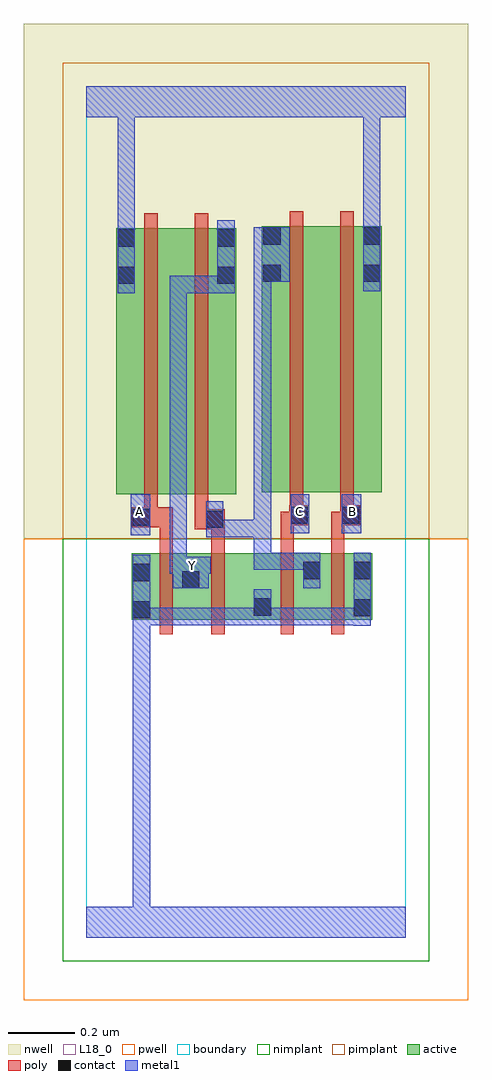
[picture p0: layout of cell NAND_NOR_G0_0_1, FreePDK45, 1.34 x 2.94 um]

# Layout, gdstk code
import gdstk
lib = gdstk.Library(unit=1e-6, precision=1e-09)
def R(c, l, rs):  # rectangles x0, y0, x1, y1
    for r in rs: c.add(gdstk.rectangle(r[:2], r[2:], *l))
active = (1, 0)
pwell = (2, 0)
nwell = (3, 0)
nimplant = (4, 0)
pimplant = (5, 0)
poly = (9, 0)
contact = (10, 0)
metal1 = (11, 0)
L18_0 = (18, 0)
boundary = (235, 0)

nand_nor_g0_0_1 = lib.new_cell('NAND_NOR_G0_0_1')
R(nand_nor_g0_0_1, active, [(0.136,0.956,0.196,1.156), (0.136,0.956,0.344,1.156), (0.284,0.956,0.344,1.156), (0.284,0.956,0.56,1.156), (0.5,0.956,0.56,1.156), (0.5,0.956,0.708,1.156), (0.648,0.956,0.708,1.156), (0.648,0.956,0.86,1.156), (0.8,0.956,0.86,1.156), (0.09,1.334,0.15,2.134), (0.09,1.334,0.27,2.134), (0.27,1.334,0.45,2.134), (0.39,1.334,0.45,2.134), (0.528,1.34,0.588,2.14), (0.528,1.34,0.708,2.14), (0.708,1.34,0.888,2.14), (0.828,1.34,0.888,2.14)])
R(nand_nor_g0_0_1, pwell, [(-0.188,-0.188,1.148,1.2)])
R(nand_nor_g0_0_1, nwell, [(-0.188,1.2,1.148,2.748)])
R(nand_nor_g0_0_1, nimplant, [(-0.072,-0.072,1.032,1.2)])
R(nand_nor_g0_0_1, pimplant, [(-0.072,1.2,1.032,2.632)])
R(nand_nor_g0_0_1, poly, [(0.22,0.912,0.26,1.2), (0.376,0.912,0.416,1.2), (0.584,0.912,0.624,1.2), (0.736,0.912,0.776,1.2), (0.22,1.16,0.26,1.274), (0.376,1.16,0.416,1.268), (0.584,1.16,0.624,1.28), (0.736,1.16,0.776,1.28), (0.326,1.228,0.416,1.288), (0.376,1.228,0.416,1.268), (0.376,1.228,0.416,1.268), (0.136,1.234,0.26,1.294), (0.584,1.24,0.65,1.28), (0.61,1.24,0.65,1.28), (0.61,1.24,0.67,1.3), (0.736,1.24,0.804,1.28), (0.764,1.24,0.804,1.28), (0.764,1.24,0.824,1.3), (0.326,1.248,0.366,1.33), (0.174,1.254,0.214,1.33), (0.174,1.254,0.214,1.294), (0.174,1.254,0.214,1.294), (0.612,1.26,0.652,1.336), (0.764,1.26,0.804,1.336), (0.174,1.29,0.214,2.178), (0.326,1.29,0.366,2.178), (0.612,1.296,0.652,2.184), (0.764,1.296,0.804,2.184)])
R(nand_nor_g0_0_1, contact, [(0.14,0.96,0.192,1.012), (0.804,0.966,0.856,1.018), (0.504,0.968,0.556,1.02), (0.288,1.05,0.34,1.102), (0.14,1.072,0.192,1.124), (0.652,1.078,0.704,1.13), (0.804,1.078,0.856,1.13), (0.36,1.232,0.412,1.284), (0.14,1.238,0.192,1.29), (0.614,1.244,0.666,1.296), (0.768,1.244,0.82,1.296), (0.094,1.966,0.146,2.018), (0.394,1.966,0.446,2.018), (0.532,1.972,0.584,2.024), (0.832,1.972,0.884,2.024), (0.094,2.078,0.146,2.13), (0.394,2.078,0.446,2.13), (0.532,2.084,0.584,2.136), (0.832,2.084,0.884,2.136)])
R(nand_nor_g0_0_1, metal1, [(0,0,0.96,0.092), (0.14,0.04,0.192,0.092), (0.14,0.04,0.192,0.092), (0.14,0.04,0.192,0.092), (0.14,0.04,0.192,0.092), (0.14,0.04,0.192,0.092), (0.14,0.04,0.192,0.092), (0.14,0.04,0.192,0.092), (0.14,0.04,0.192,0.092), (0.14,0.04,0.192,0.092), (0.14,0.04,0.192,0.092), (0.14,0.04,0.192,0.092), (0.14,0.04,0.192,0.092), (0.14,0.04,0.192,0.092), (0.14,0.04,0.192,0.092), (0.14,0.04,0.192,0.984), (0.14,0.932,0.192,0.984), (0.14,0.932,0.192,0.984), (0.14,0.932,0.192,1.152), (0.804,0.938,0.856,1.158), (0.14,0.94,0.192,0.992), (0.14,0.94,0.192,0.992), (0.14,0.94,0.302,0.992), (0.25,0.94,0.302,0.992), (0.25,0.94,0.302,0.992), (0.25,0.94,0.302,0.992), (0.25,0.94,0.556,0.992), (0.504,0.94,0.556,0.992), (0.504,0.94,0.556,0.992), (0.504,0.94,0.556,1.048), (0.504,0.94,0.666,0.992), (0.614,0.94,0.666,0.992), (0.614,0.94,0.666,0.992), (0.614,0.94,0.666,0.992), (0.614,0.94,0.856,0.992), (0.804,0.94,0.856,0.992), (0.804,0.94,0.856,0.992), (0.26,1.05,0.312,1.146), (0.26,1.05,0.368,1.102), (0.652,1.05,0.704,1.158), (0.25,1.094,0.302,1.146), (0.25,1.094,0.302,1.146), (0.25,1.094,0.302,1.99), (0.25,1.094,0.374,1.146), (0.504,1.106,0.556,1.158), (0.504,1.106,0.556,1.158), (0.504,1.106,0.556,1.158), (0.504,1.106,0.704,1.158), (0.504,1.106,0.556,1.256), (0.652,1.106,0.704,1.158), (0.652,1.106,0.704,1.158), (0.36,1.204,0.412,1.312), (0.36,1.204,0.556,1.256), (0.504,1.204,0.556,1.256), (0.504,1.204,0.556,1.256), (0.504,1.204,0.556,1.256), (0.504,1.204,0.556,2.024), (0.134,1.21,0.192,1.334), (0.614,1.216,0.67,1.334), (0.768,1.216,0.826,1.334), (0.094,1.938,0.146,2.158), (0.25,1.938,0.302,1.99), (0.25,1.938,0.446,1.99), (0.394,1.938,0.446,1.99), (0.394,1.938,0.446,1.99), (0.394,1.938,0.446,2.158), (0.832,1.944,0.884,2.164), (0.504,1.972,0.612,2.136), (0.094,2.106,0.146,2.158), (0.094,2.106,0.146,2.158), (0.094,2.106,0.146,2.52), (0.832,2.112,0.884,2.164), (0.832,2.112,0.884,2.164), (0.832,2.112,0.884,2.52), (0,2.468,0.96,2.56), (0.094,2.468,0.146,2.52), (0.094,2.468,0.146,2.52), (0.094,2.468,0.146,2.52), (0.094,2.468,0.146,2.52), (0.094,2.468,0.146,2.52), (0.094,2.468,0.146,2.52), (0.832,2.468,0.884,2.52), (0.832,2.468,0.884,2.52), (0.832,2.468,0.884,2.52), (0.832,2.468,0.884,2.52), (0.832,2.468,0.884,2.52), (0.832,2.468,0.884,2.52)])
R(nand_nor_g0_0_1, L18_0, [(0,0,0.96,0.092), (0.14,0.04,0.192,0.092), (0.14,0.04,0.192,0.092), (0.14,0.04,0.192,0.092), (0.14,0.04,0.192,0.092), (0.14,0.04,0.192,0.092), (0.14,0.04,0.192,0.092), (0.14,0.04,0.192,0.092), (0.14,0.04,0.192,0.092), (0.14,0.04,0.192,0.092), (0.14,0.04,0.192,0.092), (0.14,0.04,0.192,0.092), (0.14,0.04,0.192,0.092), (0.14,0.04,0.192,0.092), (0.14,0.04,0.192,0.092), (0.14,0.04,0.192,0.984), (0.14,0.932,0.192,0.984), (0.14,0.932,0.192,0.984), (0.14,0.932,0.192,1.152), (0.804,0.938,0.856,1.158), (0.14,0.94,0.192,0.992), (0.14,0.94,0.192,0.992), (0.14,0.94,0.302,0.992), (0.25,0.94,0.302,0.992), (0.25,0.94,0.302,0.992), (0.25,0.94,0.302,0.992), (0.25,0.94,0.556,0.992), (0.504,0.94,0.556,0.992), (0.504,0.94,0.556,0.992), (0.504,0.94,0.666,0.992), (0.504,0.94,0.556,1.048), (0.614,0.94,0.666,0.992), (0.614,0.94,0.666,0.992), (0.614,0.94,0.666,0.992), (0.614,0.94,0.856,0.992), (0.804,0.94,0.856,0.992), (0.804,0.94,0.856,0.992), (0.26,1.05,0.368,1.102), (0.26,1.05,0.312,1.146), (0.25,1.094,0.302,1.146), (0.25,1.094,0.302,1.146), (0.25,1.094,0.374,1.146), (0.25,1.094,0.302,1.99), (0.294,1.094,0.346,1.146), (0.134,1.21,0.192,1.334), (0.614,1.216,0.67,1.334), (0.768,1.216,0.826,1.334), (0.134,1.254,0.186,1.306), (0.614,1.254,0.666,1.306), (0.774,1.254,0.826,1.306), (0.094,1.938,0.146,2.158), (0.25,1.938,0.302,1.99), (0.25,1.938,0.446,1.99), (0.394,1.938,0.446,1.99), (0.394,1.938,0.446,1.99), (0.394,1.938,0.446,2.158), (0.832,1.944,0.884,2.164), (0.094,2.106,0.146,2.158), (0.094,2.106,0.146,2.158), (0.094,2.106,0.146,2.52), (0.832,2.112,0.884,2.164), (0.832,2.112,0.884,2.164), (0.832,2.112,0.884,2.52), (0,2.468,0.96,2.56), (0.094,2.468,0.146,2.52), (0.094,2.468,0.146,2.52), (0.094,2.468,0.146,2.52), (0.094,2.468,0.146,2.52), (0.094,2.468,0.146,2.52), (0.094,2.468,0.146,2.52), (0.832,2.468,0.884,2.52), (0.832,2.468,0.884,2.52), (0.832,2.468,0.884,2.52), (0.832,2.468,0.884,2.52), (0.832,2.468,0.884,2.52), (0.832,2.468,0.884,2.52)])
R(nand_nor_g0_0_1, boundary, [(0,0,0.96,2.56)])
nand_nor_g0_0_1.add(gdstk.Label('A', (0.16,1.28), layer=11, texttype=0))
nand_nor_g0_0_1.add(gdstk.Label('B', (0.8,1.28), layer=11, texttype=0))
nand_nor_g0_0_1.add(gdstk.Label('C', (0.64,1.28), layer=11, texttype=0))
nand_nor_g0_0_1.add(gdstk.Label('Y', (0.32,1.12), layer=11, texttype=0))

lib.write_gds('NAND_NOR_G0_0_1.gds')
